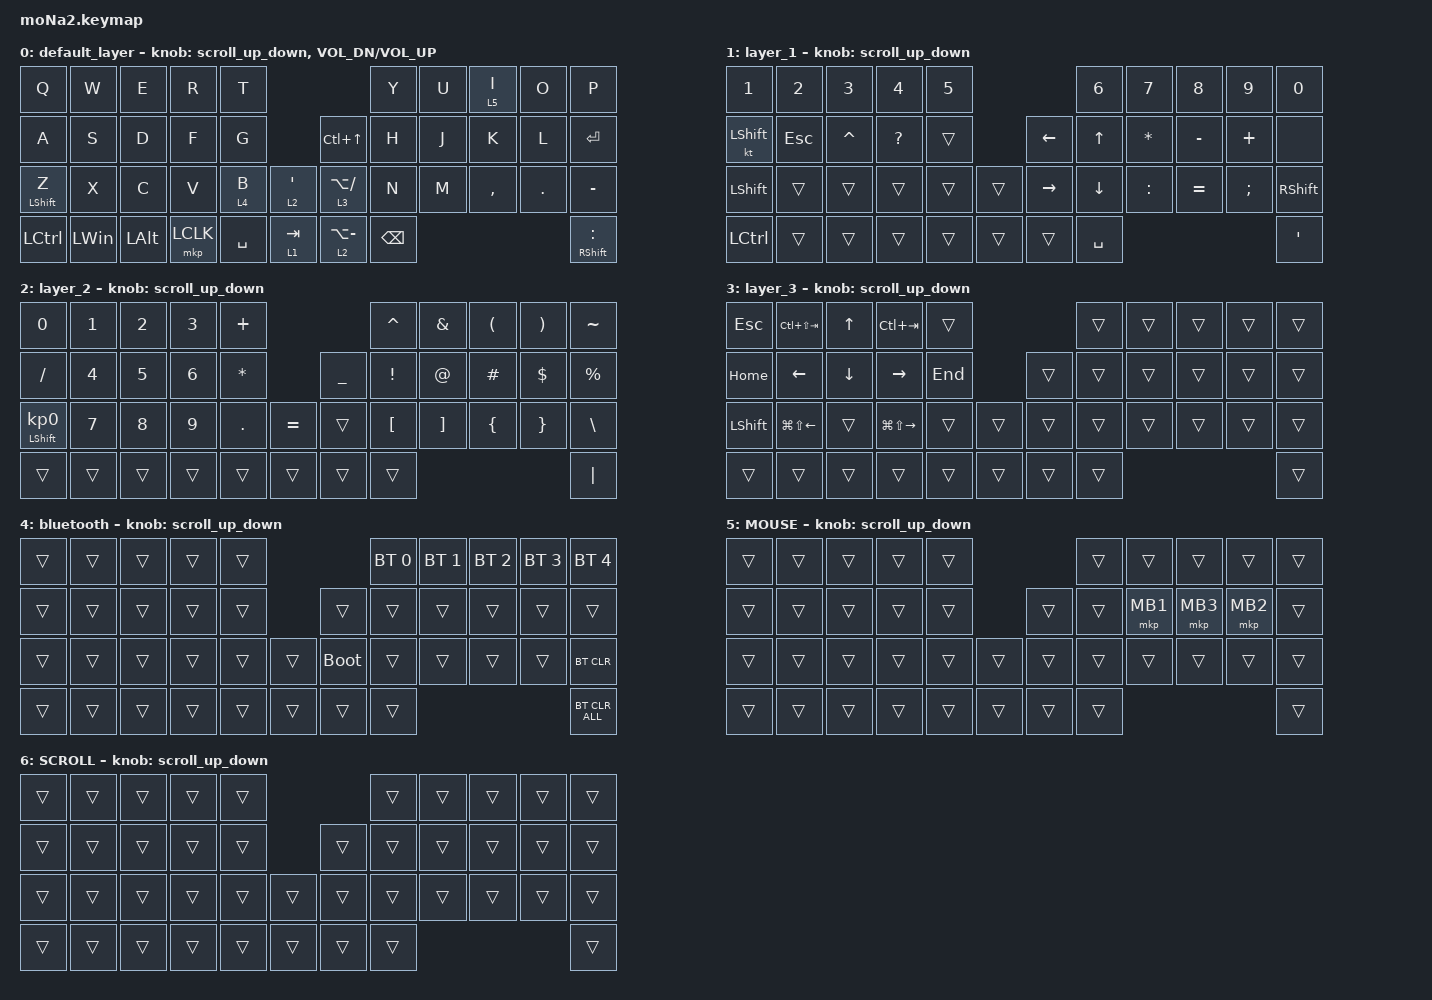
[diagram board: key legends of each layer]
#include <behaviors.dtsi>
#include <dt-bindings/zmk/bt.h>
#include <dt-bindings/zmk/keys.h>
#include <dt-bindings/zmk/pointing.h>

#define ZMK_POINTING_DEFAULT_SCRL_VAL 100
#define MOUSE 5
#define SCROLL 6

&mt {
    flavor = "balanced";
    quick-tap-ms = <0>;
};

/ {
    combos { compatible = "zmk,combos"; };

    macros {
        to_layer_0: to_layer_0 {
            compatible = "zmk,behavior-macro-one-param";
            #binding-cells = <1>;
            bindings = <&to 0 &macro_param_1to1 &kp MACRO_PLACEHOLDER>;
            label = "TO_LAYER_0";
        };
    };

    behaviors {
        lt_to_layer_0: lt_to_layer_0 {
            compatible = "zmk,behavior-hold-tap";
            label = "LAYER_TAP_TO_0";
            bindings = <&mo>, <&to_layer_0>;

            #binding-cells = <2>;
            tapping-term-ms = <200>;
        };

        scroll_up_down: behavior_sensor_rotate_mouse_wheel_up_down {
            compatible = "zmk,behavior-sensor-rotate";
            #sensor-binding-cells = <0>;
            bindings = <&msc SCRL_UP>, <&msc SCRL_DOWN>;

            tap-ms = <20>;
        };
    };

    keymap {
        compatible = "zmk,keymap";

        default_layer {
            bindings = <
&kp Q             &kp W         &kp E         &kp R      &kp T                                            &kp Y          &kp U  &lt 5 I    &kp O    &kp P
&kp A             &kp S         &kp D         &kp F      &kp G                          &kp LC(UP_ARROW)  &kp H          &kp J  &kp K      &kp L    &kp ENTER
&mt LEFT_SHIFT Z  &kp X         &kp C         &kp V      &lt 4 B    &lt 2 APOSTROPHE    &lt 3 LA(SLASH)   &kp N          &kp M  &kp COMMA  &kp DOT  &kp MINUS
&kp LCTRL         &kp LEFT_WIN  &kp LEFT_ALT  &mkp LCLK  &kp SPACE  &lt 1 TAB           &lt 2 LA(MINUS)   &kp BACKSPACE                             &mt RIGHT_SHIFT COLON
            >;

            sensor-bindings =
                <&scroll_up_down>,
                <&inc_dec_kp C_VOL_DN C_VOL_UP>;
        };

        layer_1 {
            bindings = <
&kp NUMBER_1      &kp NUMBER_2  &kp NUMBER_3  &kp NUMBER_4  &kp NUMBER_5                             &kp NUMBER_6    &kp NUMBER_7  &kp NUMBER_8  &kp NUMBER_9   &kp NUMBER_0
&kt LEFT_SHIFT    &kp ESCAPE    &kp CARET     &kp QUESTION  &trans                  &kp LEFT_ARROW   &kp UP_ARROW    &kp ASTRK     &kp MINUS     &kp PLUS       &none
&kp LEFT_SHIFT    &trans        &trans        &trans        &trans        &trans    &kp RIGHT_ARROW  &kp DOWN_ARROW  &kp COLON     &kp EQUAL     &kp SEMICOLON  &kp RIGHT_SHIFT
&kp LEFT_CONTROL  &trans        &trans        &trans        &trans        &trans    &trans           &kp SPACE                                                  &kp SQT
            >;

            sensor-bindings = <&scroll_up_down>;
        };

        layer_2 {
            bindings = <
&kp N0                      &kp NUMBER_1  &kp NUMBER_2  &kp NUMBER_3  &kp PLUS                                   &kp CARET         &kp AMPERSAND      &kp LEFT_PARENTHESIS  &kp RIGHT_PARENTHESIS  &kp TILDE
&kp SLASH                   &kp NUMBER_4  &kp NUMBER_5  &kp NUMBER_6  &kp ASTERISK               &kp UNDERSCORE  &kp EXCLAMATION   &kp AT_SIGN        &kp HASH              &kp DOLLAR             &kp PERCENT
&mt LEFT_SHIFT KP_NUMBER_0  &kp N7        &kp N8        &kp N9        &kp PERIOD    &kp EQUAL    &trans          &kp LEFT_BRACKET  &kp RIGHT_BRACKET  &kp LEFT_BRACE        &kp RIGHT_BRACE        &kp BACKSLASH
&trans                      &trans        &trans        &trans        &trans        &trans       &trans          &trans                                                                            &kp PIPE
            >;

            sensor-bindings = <&scroll_up_down>;
        };

        layer_3 {
            bindings = <
&kp ESCAPE      &kp LC(LS(TAB))         &kp UP_ARROW    &kp LC(TAB)              &trans                     &trans  &trans  &trans  &trans  &trans
&kp HOME        &kp LEFT_ARROW          &kp DOWN_ARROW  &kp RIGHT_ARROW          &kp END            &trans  &trans  &trans  &trans  &trans  &trans
&kp LEFT_SHIFT  &kp LG(LS(LEFT_ARROW))  &trans          &kp LG(LS(RIGHT_ARROW))  &trans   &trans    &trans  &trans  &trans  &trans  &trans  &trans
&trans          &trans                  &trans          &trans                   &trans   &trans    &trans  &trans                          &trans
            >;

            sensor-bindings = <&scroll_up_down>;
        };

        bluetooth {
            bindings = <
&trans  &trans  &trans  &trans  &trans                         &bt BT_SEL 0  &bt BT_SEL 1  &bt BT_SEL 2  &bt BT_SEL 3  &bt BT_SEL 4
&trans  &trans  &trans  &trans  &trans            &trans       &trans        &trans        &trans        &trans        &trans
&trans  &trans  &trans  &trans  &trans  &trans    &bootloader  &trans        &trans        &trans        &trans        &bt BT_CLR
&trans  &trans  &trans  &trans  &trans  &trans    &trans       &trans                                                  &bt BT_CLR_ALL
            >;

            sensor-bindings = <&scroll_up_down>;
        };

        MOUSE {
            bindings = <
&trans  &trans  &trans  &trans  &trans                    &trans  &trans    &trans    &trans    &trans
&trans  &trans  &trans  &trans  &trans            &trans  &trans  &mkp MB1  &mkp MB3  &mkp MB2  &trans
&trans  &trans  &trans  &trans  &trans  &trans    &trans  &trans  &trans    &trans    &trans    &trans
&trans  &trans  &trans  &trans  &trans  &trans    &trans  &trans                                &trans
            >;

            sensor-bindings = <&scroll_up_down>;
        };

        SCROLL {
            bindings = <
&trans  &trans  &trans  &trans  &trans                    &trans  &trans  &trans  &trans  &trans
&trans  &trans  &trans  &trans  &trans            &trans  &trans  &trans  &trans  &trans  &trans
&trans  &trans  &trans  &trans  &trans  &trans    &trans  &trans  &trans  &trans  &trans  &trans
&trans  &trans  &trans  &trans  &trans  &trans    &trans  &trans                          &trans
            >;

            sensor-bindings = <&scroll_up_down>;
        };
    };
};
